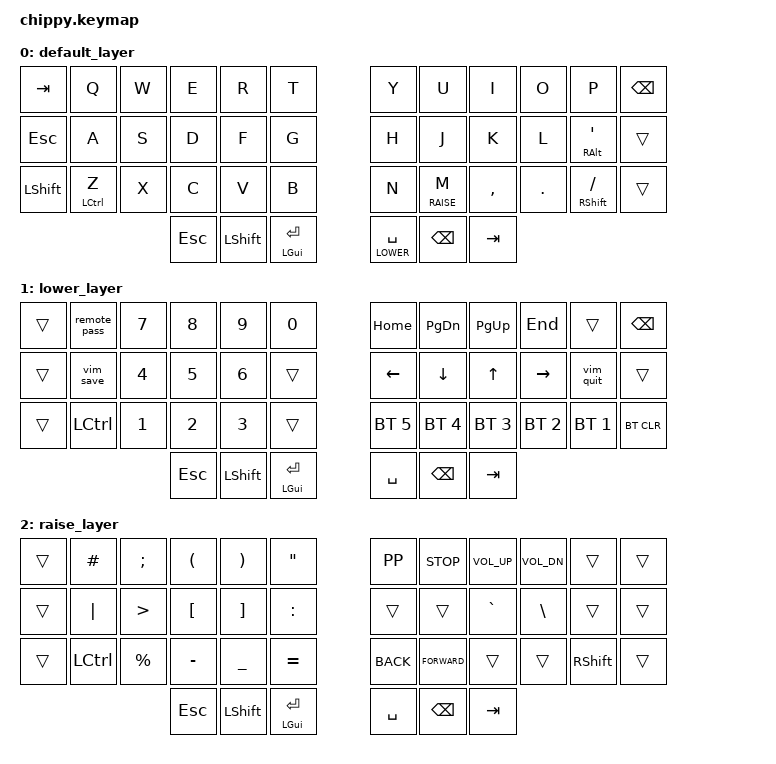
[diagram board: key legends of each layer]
/*
 * Copyright (c) 2020 The ZMK Contributors
 *
 * SPDX-License-Identifier: MIT
 */

#include <behaviors.dtsi>
#include <dt-bindings/zmk/keys.h>
#include <dt-bindings/zmk/bt.h>

#define DEFAULT 0
#define LOWER 1
#define RAISE 2

/ {
    macros {
        remote_pass: remote_pass {
            label = "ZM_remote_pass";
            compatible = "zmk,behavior-macro";
            #binding-cells = <0>;
            bindings
                = <&macro_tap &kp R &kp E &kp K &kp DOT &kp X &kp C &kp F &kp N0 &kp N &kp H &kp K &kp UNDER>
                , <&macro_press &kp LSHFT>
                , <&macro_tap &kp P &kp R &kp Z>
                , <&macro_release &kp LSHFT>
                , <&macro_tap &kp N3 &kp C &kp R &kp D>
                ;
        };
        vim_save: vim_save {
            label = "ZM_vim_save";
            compatible = "zmk,behavior-macro";
            #binding-cells = <0>;
            bindings
                = <&macro_tap &kp COLON &kp W &kp RET> 
                ;
        };
        vim_quit: vim_quit {
            label = "ZM_vim_quit";
            compatible = "zmk,behavior-macro";
            #binding-cells = <0>;
            bindings
                = <&macro_tap &kp COLON &kp Q &kp RET> 
                ;
        };
    };
};

/ {
        keymap {
                compatible = "zmk,keymap";

                default_layer {
// -----------------------------------------------------------------------------------------
// |  |  Q  |  W  |  E  |  R  |  T  |   |  Y  |  U   |  I  |  O  |  P  |  |
// |  |  A  |  S  |  D  |  F  |  G  |   |  H  |  J   |  K  |  L  |  ;  |  |
// |  |  Z  |  X  |  C  |  V  |  B  |   |  N  |  M   |  ,  |  .  |  /  |  |
//                    | TAB | CTRL | ENT |   | SPC | BSP  | ESC |
                        bindings = <
   &kp TAB      &kp Q        &kp W &kp E &kp R &kp T         &kp Y &kp U         &kp I     &kp O   &kp P           &kp BSPC
  &kp ESC      &kp A        &kp S &kp D &kp F &kp G         &kp H &kp J         &kp K     &kp L   &mt RALT SQT     &trans
   &kp LSHIFT   &mt LCTRL Z &kp X &kp C &kp V &kp B         &kp N &lt RAISE M   &kp COMMA &kp DOT &mt RSHIFT FSLH &trans
                  &kp ESC &kp LSHIFT &mt LGUI RET             &lt LOWER SPACE   &kp BSPC   &kp TAB
                        >;
                };
                lower_layer {
// -----------------------------------------------------------------------------------------
// |  TAB |  1  |  2  |  3  |  4  |  5  |   |  6  |  7  |  8  |  9  |  0  | BKSP |
// | BTCLR| BT1 | BT2 | BT3 | BT4 | BT5 |   | LFT | DWN |  UP | RGT |     |      |
// | SHFT |     |     |     |     |     |   |     |     |     |     |     |      |
//                    | GUI |     | SPC |   | ENT |     | ALT |
                        bindings = <
   &trans &remote_pass &kp N7   &kp N8   &kp N9   &kp N0               &kp HOME   &kp PG_DN   &kp PG_UP    &kp END    &trans   &kp BSPC
   &trans &vim_save    &kp N4   &kp N5   &kp N6   &trans               &kp LEFT   &kp DOWN    &kp UP       &kp RIGHT  &vim_quit   &trans
   &trans &kp LCTRL    &kp N1   &kp N2   &kp N3   &trans               &bt BT_SEL 5  &bt BT_SEL 4  &bt BT_SEL 3 &bt BT_SEL 2  &bt BT_SEL 1  &bt BT_CLR
                       &kp ESC  &kp LSHIFT  &mt LGUI RET               &kp SPACE  &kp BSPC  &kp TAB
                        >;
                };

                raise_layer {
// -----------------------------------------------------------------------------------------
// |  TAB |  !  |  @  |  #  |  $  |  %  |   |  ^  |  &  |  *  |  (  |  )  | BKSP |
// | CTRL |     |     |     |     |     |   |  -  |  =  |  [  |  ]  |  \  |  `   |
// | SHFT |     |     |     |     |     |   |  _  |  +  |  {  |  }  | "|" |  ~   |
//                    | GUI |     | SPC |   | ENT |     | ALT |
                        bindings = <
   &trans  &kp HASH     &kp SEMI      &kp LPAR    &kp RPAR   &kp DQT             &kp K_PP   &kp K_STOP     &kp K_VOL_UP &kp K_VOL_DN &trans     &trans
   &trans  &kp PIPE     &kp GT        &kp LBKT    &kp RBKT   &kp COLON           &trans     &trans         &kp GRAVE    &kp BSLH     &trans     &trans
   &trans  &kp LCTRL   &kp PERCENT   &kp MINUS   &kp UNDER  &kp EQUAL           &kp K_BACK &kp K_FORWARD  &trans       &trans       &kp RSHIFT &trans
                             &kp ESC  &kp LSHIFT  &mt LGUI RET                  &kp SPACE   &kp BSPC    &kp TAB
                        >;
                };
        };
};
